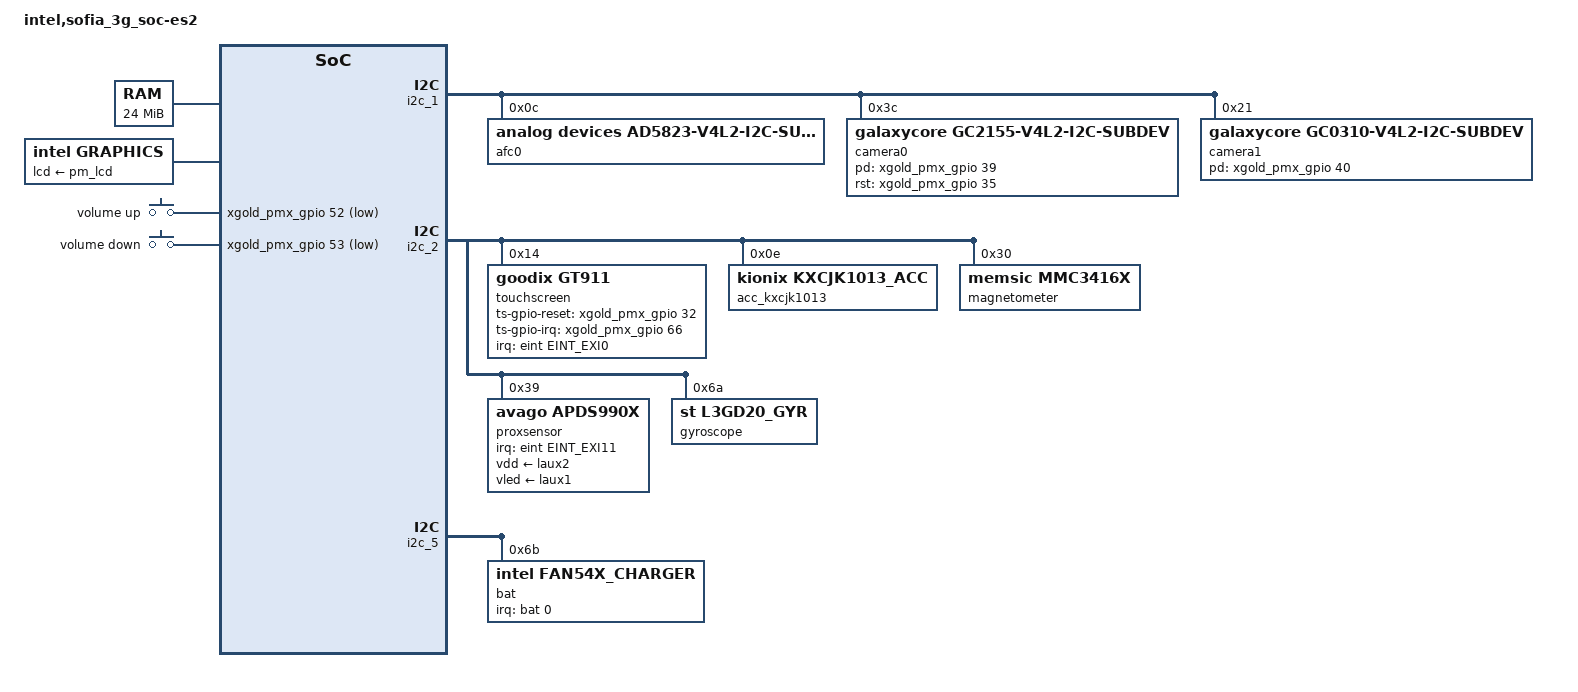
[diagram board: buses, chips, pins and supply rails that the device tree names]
/dts-v1/;
#define SOFIA3G_MRD7S
#include "xgold/sofia_3g_soc/irq.h"

/ {
	#address-cells = <1>;
	#size-cells = <1>;
	model = "intel,sofia_3g_soc-es2";
	compatible = "intel,sofia_3g_soc-svb", "intel,xgold";

	#include "xgold/sofia_3g_soc/sofia_3g_soc.dtsi"
	#include "xgold/sofia_3g_soc/irq.dtsi"
	#include "xgold/mobilevisor/mobilevisor.dtsi"
	#include "xgold/sofia_3g_soc/clock-es2.dtsi"
	#include "xgold/sofia_3g_soc/regulator.dtsi"
	#include "xgold/sofia_3g_soc/device-pm-reg.dtsi"
	#include "xgold/sofia_3g_soc/cpufreq.dtsi"

	chosen {
	};

	aliases {
	};

	memory {
		device_type = "memory";
		reg = <0x800000 0x1800000>;
	};

	reserved-memory {
		#address-cells = <1>;
		#size-cells = <1>;
		ranges;

		/* global autoconfigured region for contiguous allocations */
		cma_default_region: region@0 {
			size = <0x09000000>;
			limit = <0x00000000>;
			linux,cma-default;
		};
		/* special region for secured processing devices */
		secured_region: region@8000000 {
			reg = <0x08000000 0x08000000>;
			no-map;
			linux,cma;
		};
	};

	vmodem {
		compatible = "intel,vmodem";
		reg = < 0x1D000000 0x02C00000 >;
	};

	ion {
		compatible = "intel,ion";
#ifndef RECOVERY_KERNEL
		secvm-handler;
#endif
		cma-heap {
			memory-region = <&cma_default_region>;
		};
		secured-heap {
			memory-region = <&secured_region>;
		};
	};

	backlight:agold620-backlight {
		compatible = "intel,agold620-led";
		reg = <0xE6501800 0x154>;
		reg-names = "pmu-bl";
		intel,flags-use-safe-ctrl;
		intel,vmm-secured-access;
		pm,class-name = "bl_class";
		pm,user-name = "bl";
		pm,state-D0 = "enable";
		pm,state-D3 = "disable";
		intel,led-k2 = <0x143>;
		intel,led-k1max = <0x120>;
		intel,led-k2max = <0xFFFF>;
		intel,led-up = <0x10104>;
		intel,led-down = <0x200>;
		intel,led-safe = <0x12>;
	};

	graphics {
		compatible = "intel,graphics";
		intel,gpu-shared-mem = <0x20000000>;
		intel,dcc-fbpixelformat= "RGB888";
		intel,dcc-debug-level = <1>;
		intel,fb-api = <1>;
#ifdef RECOVERY_KERNEL
		intel,dcc-mem = < 0x00800000 >;
#else
		intel,dcc-use-fences = <1>;
		intel,dcc-mem = < 0x00400000 >;
		intel,prot-mem = < 0x08000000 0x08000000>;
#endif
		intel,display-fps = <60>;
		intel,display-ramless = <1>;
		intel,display-preinit = <0>;
		intel,display-if = <&mipi_dsi>;
		lcd-supply = <&pm_lcd>;
#ifdef SOFIA3G_MRD7S
		intel,display-if-rate = <260000000>;
		/include/ "xgold/display/HX8279.dtsi"
#else
		intel,display-if-rate = <390000000>;
		/include/ "xgold/display/OTM1283.dtsi"
#endif
		mipi_dsi:mipi-dsi {
				intel,display-if-min = <104000000>;
				intel,display-if-max = <550000000>;
				intel,display-if-nblanes = <4>;
				intel,display-if-phy-pwup = <6>;
				intel,display-if-phy-calib = <3>;
				intel,display-if-phy-to_lp_hs_req = <24>;
				intel,display-if-phy-to_lp_hs_dis = <25>;
				intel,display-if-phy-to_lp_hs_eot = <60>;
				intel,display-if-phy-to_hs_zero = <8>;
				intel,display-if-phy-to_hs_flip = <24>;
				intel,display-if-phy-lp_clk_div = <31>;
				intel,display-if-phy-to_hs_clk_pre = <36>;
				intel,display-if-phy-to_hs_clk_post = <42>;
				intel,display-if-phy-data_delay = <7>;
				intel,display-if-phy-clock_delay = <7>;
				intel,display-if-phy-lp_tx_tfall = <2>;
				intel,display-if-phy-lp_tx_rise = <2>;
				intel,display-if-phy-lp_tx_vref = <31>;
		};
	};

#ifndef RECOVERY_KERNEL
	sound:sound {
		compatible = "intel,xgold-snd-asoc";
		intel,audio-codec = < &afe >;
		intel,pcm-audio = <&pcm_music>;
		intel,pcm-voice = <&pcm_voice>;
		intel,speech = <&speech_probe>;
		intel,jack = <&headset>;
	};
#endif
	gpio_keys:gpio_keys {
		compatible = "gpio-keys";
		#address-cells = < 0 >;
		interrupt-parent = <&gpio_keys>;
		interrupts = < 0 1 >;
		#interrupt-cells = < 1 >;
		interrupt-map = <
			0 &eint EINT_EXI14 XGOLD_IRQ_TYPE_EDGE_BOTH
			1 &eint EINT_EXI8 XGOLD_IRQ_TYPE_EDGE_BOTH
		>;
		autorepeat;
		button@1 {
			label = "volume up";
			linux,code = <115>;
			gpios = <&xgold_pmx_gpio 52 1>;
		};
		button@2 {
			label = "volume down";
			linux,code = <114>;
			gpios = <&xgold_pmx_gpio 53 1>;
		};
	};
};

&eint {
	/* intel,virq,x = <0>; means EINTx is owned & requested by IRQ framework */
	intel,virq,0 = <0>; /* EINT_EXI0: TOUCH */
	intel,virq,1 = <0>; /* EINT_EXI1: ??? */
	intel,virq,2 = <0>; /* EINT_EXI2: ??? */
	intel,virq,3 = <1>; /* EINT_EXI3 */
	intel,virq,4 = <1>; /* EINT_EXI4 */
	intel,virq,5 = <1>; /* EINT_EXI5 */
	intel,virq,6 = <1>; /* EINT_EXI6 */
	intel,virq,7 = <1>; /* EINT_EXI7 */
	intel,virq,8 = <0>; /* EINT_EXI8: SD-DET+KEYBOARD? */
	intel,virq,9 = <1>; /* EINT_EXI9 */
	intel,virq,10 = <1>; /* EINT_EXI10 */
	intel,virq,11 = <0>; /* EINT_EXI11: PROX */
	intel,virq,12 = <0>; /* EINT_EXI12: ??? */
	intel,virq,13 = <1>; /* EINT_EXI13 */
	intel,virq,14 = <0>; /* EINT_EXI14: KEYBOARD */
	intel,virq,15 = <1>; /* EINT_EXI15 */
	intel,virq,16 = <0>; /* EINT_USB_HS_RESUME */
	intel,virq,17 = <0>; /* EINT_SDMMC_DETECT */
	intel,virq,18 = <1>; /* EINT_SDIO_DAT3 */
	intel,virq,19 = <1>; /* EINT_SDIO_DAT1 */
	intel,virq,20 = <0>; /* EINT_USIF1_WK */
	intel,virq,21 = <1>; /* EINT_USIF2_WK */
	intel,virq,22 = <1>; /* EINT_WUP_DBB */
	intel,virq,23 = <1>; /* EINT_U2H */
	intel,virq,24 = <1>; /* EINT_G3FP */
	intel,virq,25 = <1>; /* EINT_DTXS */
	intel,virq,26 = <1>; /* EINT_DRXS */
	intel,virq,27 = <1>; /* EINT_WDT0 */
	intel,virq,28 = <1>; /* EINT_WDT1 */
	intel,virq,29 = <0>; /* EINT_USB_ID */

	intel,preack,8 = <1>; /* EINT_EXI8 */
	intel,preack,20 = <1>; /* EINT_USIF1_WK */
};

&idi_per {
	#include "xgold/agold620/agold620.dtsi"
};

&bat_hal {
	#define BAT_TYPE_LC 0
	#define POWER_SUPPLY_TECHNOLOGY_LION 2

	supp_batids =  < 0 BAT_TYPE_LC >;

	supp_batids-map = "standrd";

	prof-standrd = < POWER_SUPPLY_TECHNOLOGY_LION /*battery_type*/
				  3000 /*capacity*/
				  4350 /*voltage_max*/
				  82 /*chrg_term_ma*/
				  2900 /*low_batt_mv*/
				  60 /*disch_tmp_ul*/
				  0xffffffec /*disch_tmp_ll (-20)*/
				  0 /*min_temp*/
				  3 /*min_temp_restart*/
				  42 /*max_temp_restart*/ >;

	prof-standrd-cap_to_vbat_ocv = <
		2912 3280 3438 3530 3595 3643 3672 3681 3685 3689
		3692 3695 3698 3702 3708 3716 3723 3731 3737 3743
		3749 3754 3760 3764 3767 3771 3773 3776 3778 3781
		3783 3785 3787 3790 3793 3795 3798 3801 3805 3808
		3811 3815 3819 3823 3827 3832 3836 3841 3846 3852
		3857 3863 3869 3876 3883 3891 3899 3908 3916 3924
		3933 3941 3949 3958 3967 3975 3983 3991 4000 4009
		4020 4030 4041 4052 4063 4072 4081 4091 4102 4112
		4123 4134 4145 4156 4167 4178 4189 4201 4212 4224
		4236 4247 4259 4271 4283 4295 4307 4317 4327 4337
		4345 >;

	prof-standrd-ntemp_ranges = <1>;

	prof-standrd-temp_range0 = < 45 /*max_temp*/
					     4160 /*full_chrg_vol*/
					     850 /*full_chrg_cur*/
					     98 /*charging_res_cap*/
					     4160 /*maint_chrg_vol_ul*/
					     850 /*maint_chrg_cur*/ >;

	nprofiles = <1>;
};

&fuel_gauge_hal {
	sense_resistor_mohm = <20>;
	gain_error_1_uc_per_mc = <30>;
	gain_error_2_uc_per_mc = <30>;
};

&dcc {
	pinctrl-names = "default", "sleep", "inactive";
	pinctrl-0 = <&dif_default_pins>;
	pinctrl-1 = <&dif_sleep_pins>;
	pinctrl-2 = <&dif_inactive_pins>;
};

&usif1 {
	pinctrl-names = "default", "sleep", "inactive";
	pinctrl-0 = <&usif1_default_pins>;
	pinctrl-1 = <&usif1_sleep_pins>;
	pinctrl-2 = <&usif1_inactive_pins>;
};

&usif2 {
	pinctrl-names = "default", "sleep", "inactive";
	pinctrl-0 = <&usif2_function_B_active_pins>;
	pinctrl-1 = <&usif2_function_B_sleep_pins>;
	pinctrl-2 = <&usif2_function_B_inactive_pins>;
};

&i2c_1 {
	pinctrl-names = "default", "sleep", "inactive";
	pinctrl-0 = <&i2c1_default_pins>;
	pinctrl-1 = <&i2c1_sleep_pins>;
	pinctrl-2 = <&i2c1_inactive_pins>;

#ifndef RECOVERY_KERNEL
	afc0: af-controller@0 {
		compatible = "analog devices,ad5823-v4l2-i2c-subdev";
		reg = < 0x0C >;
	};

	camera0: camera-module@0 {
		compatible = "galaxycore,gc2155-v4l2-i2c-subdev";
		reg = < 0x3c >;
		device_type = "v4l2-i2c-subdev";

		pinctrl-names = "default", "sleep", "inactive";
		pinctrl-0 = <&cam1_default_pins>;
		pinctrl-1 = <&cam1_sleep_pins>;
		pinctrl-2 = <&cam1_inactive_pins>;

		intel,pd-gpio = <&xgold_pmx_gpio 39 0>;
		intel,rst-gpio = <&xgold_pmx_gpio 35 0>;
		intel,rst-gpio-is_active_low;

		pm,class-name = "generic_class";
		pm,user-name = "primcam";
		pm,state-D0 = "enable";
		pm,state-D3 = "disable";

		/* ["front","back"] */
		intel,camera-module-facing = "back";
		/* ["landscape","landscape-flipped","portrait","portrait-flipped"] */
		intel,camera-module-mounting = "landscape";

		intel,camera-module-csi-config-0 {
			intel,csi-pixels-per-second = <0>;
			intel,csi-vc = <0>;
			intel,csi-lanes = <2>;
			intel,csi-dphy1 = <0x6092183>;
			intel,csi-dphy2 = <0x00>;
			intel,csi-ana-bandgap-bias = <3>;
		};
	};
#endif
#ifndef RECOVERY_KERNEL
	camera1: camera-module@1 {
		compatible = "galaxycore,gc0310-v4l2-i2c-subdev";
		reg = < 0x21 >;
		device_type = "v4l2-i2c-subdev";

		pinctrl-names = "default", "sleep", "inactive";
		pinctrl-0 = <&cam2_default_pins>;
		pinctrl-1 = <&cam2_sleep_pins>;
		pinctrl-2 = <&cam2_inactive_pins>;

		intel,pd-gpio = <&xgold_pmx_gpio 40 0>;

		pm,class-name = "generic_class";
		pm,user-name = "seccam";
		pm,state-D0 = "enable";
		pm,state-D3 = "disable";

		intel,camera-module-facing = "front";
		/* ["landscape","landscape-flipped","portrait","portrait-flipped"] */
		intel,camera-module-mounting = "landscape";

		intel,camera-module-csi-config-0 {
			intel,csi-pixels-per-second = <0>;
			intel,csi-vc = <0>;
			intel,csi-lanes = <1>;
			intel,csi-dphy1 = <0x608C1C1>;
			intel,csi-dphy2 = <0x00>;
			intel,csi-ana-bandgap-bias = <3>;
		};

	};
#endif
};

&i2c_2 {
	pinctrl-names = "default", "sleep", "inactive";
	pinctrl-0 = <&i2c2_default_pins>;
	pinctrl-1 = <&i2c2_sleep_pins>;
	pinctrl-2 = <&i2c2_inactive_pins>;

#ifndef RECOVERY_KERNEL
	touchscreen {
		compatible = "goodix,GT911";
		reg = < 0x14 >;
		interrupt-parent = <&eint>;
		interrupts = < EINT_EXI0 XGOLD_IRQ_TYPE_EDGE_FALLING >;
		pinctrl-names = "default", "sleep", "inactive", "gpio";
		pinctrl-0 = <&touch_default_pins>;
		pinctrl-1 = <&touch_sleep_pins>;
		pinctrl-2 = <&touch_inactive_pins>;
		pinctrl-3 = <&touch_gpio_pins>;
		intel,ts-gpio-reset = <&xgold_pmx_gpio 32 0>;
		intel,ts-gpio-irq = <&xgold_pmx_gpio 66 0>;
		pm,class-name = "gt9xx_class";
		pm,user-name = "tp";
		pm,state-D0 = "enable";
		pm,state-D3 = "disable";
	};
#endif

#ifndef RECOVERY_KERNEL
	acc_kxcjk1013 {
		compatible = "kionix,kxcjk1013_acc";
		reg = < 0xE >;
		intel,acc-direction = < 6 >;
		intel,poll-interval = < 100 >;
		pinctrl-names = "default", "sleep", "inactive";
		pinctrl-0 = <&accel_default_pins>;
		pinctrl-1 = <&accel_sleep_pins>;
		pinctrl-2 = <&accel_inactive_pins>;
		pm,class-name = "lsm303dlhc_acc_class";
		pm,user-name = "accelerometer";
		pm,state-D0 = "enable";
		pm,state-D3 = "disable";
	};
#endif
#ifndef RECOVERY_KERNEL
	magnetometer {
		compatible = "memsic,mmc3416x";
		reg = < 0x30 >;
		intel,axis-map = < 0 1 2 >;
		intel,negate = < 0 0 0 >;
		intel,offset = < 0 0 0 >;
		intel,poll-interval = < 100 >;
		pm,class-name = "mmc3416x_class";
		pm,user-name = "compass";
		pm,state-D0 = "enable";
		pm,state-D3 = "disable";
	};
#endif
#ifndef RECOVERY_KERNEL
	proxsensor {
		compatible = "avago,apds990x";
		reg = < 0x39 >;
		interrupt-parent = <&eint>;
		interrupts = < EINT_EXI11 XGOLD_IRQ_TYPE_EDGE_FALLING >;
		pinctrl-names = "default", "sleep", "inactive";
		pinctrl-0 = <&prox_default_pins>;
		pinctrl-1 = <&prox_sleep_pins>;
		pinctrl-2 = <&prox_inactive_pins>;
		intel,pdrive = /bits/ 8 < 64 >;
		intel,ppcount = /bits/ 8 < 64 >;
		intel,als-gain = < 713 >;
		intel,coeff-B = < 204 >;
		intel,coeff-C = < 98 >;
		intel,coeff-D = < 197 >;
		vdd-supply = <&laux2>;
		vled-supply = <&laux1>; /* VBAT in fact, but since VBAT is not controllable, and VAUX1 is required for INT pull up, assigned VAUX1 to VLED instead. */
		pm,class-name = "apds990x_class";
		pm,user-name = "proximity";
		pm,state-D0 = "enable";
		pm,state-D3 = "disable";
	};
#endif
#ifndef RECOVERY_KERNEL
	gyroscope {
		compatible = "st,l3gd20_gyr";
		reg = < 0x6a >;
		pinctrl-names = "default", "sleep", "inactive";
		pinctrl-0 = <&gyroscope_default_pins>;
		pinctrl-1 = <&gyroscope_sleep_pins>;
		pinctrl-2 = <&gyroscope_inactive_pins>;
		intel,axis-map = < 0 1 2 >;
		intel,negate = < 1 0 1 >;
		intel,poll-interval = < 100 >;
		intel,full-scale = < 2000 >;
		pm,class-name = "l3gd20_class";
		pm,user-name = "gyroscope";
		pm,state-D0 = "enable";
		pm,state-D3 = "disable";
	};
#endif
};

&i2c_5 {
	pinctrl-names = "default", "sleep", "inactive";
	pinctrl-0 = <&i2c5_agold_default_pins>;
	pinctrl-1 = <&i2c5_agold_sleep_pins>;
	pinctrl-2 = <&i2c5_agold_inactive_pins>;
	bat:battery {
		compatible = "intel,fan54x_charger";
		reg = < 0x6b >;
		interrupts = < 0 >;
		interrupt-parent = < &bat>;
		#interrupt-cells = < 1 >;
		interrupt-map = < 0 &ag620_pmu ABB_PMU_CI XGOLD_IRQ_TYPE_NONE >; /* CI */
		pinctrl-names = "default", "sleep", "inactive", "active";
		pinctrl-0 = < &chgreset_agold_default_pins >;
		pinctrl-1 = < &chgreset_agold_sleep_pins >;
		pinctrl-2 = < &chgreset_agold_inactive_pins >;
		pinctrl-3 = < &chgreset_agold_active_pins >;
	};
};

&gnss {
	pinctrl-names = "default", "sleep", "inactive";
	pinctrl-0 = <&tcxo_agold_default_pins>;
	pinctrl-1 = <&tcxo_agold_sleep_pins>;
	pinctrl-2 = <&tcxo_agold_inactive_pins>;
};

&backlight {
	pinctrl-names = "default", "sleep", "inactive";
	pinctrl-0 = <&cabc_agold_default_pins>;
	pinctrl-1 = <&cabc_agold_sleep_pins>;
	pinctrl-2 = <&cabc_agold_inactive_pins>;
};

#ifndef RECOVERY_KERNEL
&afe {
	pinctrl-names = "default", "sleep", "inactive";
	pinctrl-0 = <&dm_agold_default_pins>;
	pinctrl-1 = <&dm_agold_sleep_pins>;
	pinctrl-2 = <&dm_agold_inactive_pins>;
};
#endif

&sd {
	intel,tap_values = <0x080400F5 0x08040004 0x00040004 0x08040004 0x5CF501A5 0x00F500A5 0x00F500A5>;
	pinctrl-names = "default", "sleep", "inactive";
	pinctrl-0 = <&sdmmc_default_pins>;
	pinctrl-1 = <&sdmmc_sleep_pins>;
	pinctrl-2 = <&sdmmc_inactive_pins>;
};

&emmc {
	intel,tap_values = <0x080400F5 0x08040004 0x00040004 0x08040004 0x08040004 0x000400B5 0x000400B5>;
	pinctrl-names = "default", "sleep", "inactive";
	pinctrl-0 = <&emmc_default_pins>;
	pinctrl-1 = <&emmc_sleep_pins>;
	pinctrl-2 = <&emmc_inactive_pins>;

};

&keypad {
	pinctrl-names = "default", "sleep", "inactive";
	pinctrl-0 = <&kp_default_pins>;
	pinctrl-1 = <&kp_sleep_pins>;
	pinctrl-2 = <&kp_inactive_pins>;
	keypad,num-rows = <3>;
	keypad,num-columns = <8>;
	keypad,rows = <0 2>;
	keypad,columns = <0 1 2>;
	linux,keymap = <0x00000073	/* KEY_VOLUMEUP */
			0x00010066	/* KEY_HOME */
			0x00020000	/* KEY_RESERVED */
			0x00030000	/* KEY_RESERVED */
			0x00040000	/* KEY_RESERVED */
			0x00050000	/* KEY_RESERVED */
			0x00060000	/* KEY_RESERVED */
			0x00070000	/* KEY_RESERVED */
			0x01000000	/* KEY_RESERVED */
			0x01010000	/* KEY_RESERVED */
			0x01020000	/* KEY_RESERVED */
			0x01030000	/* KEY_RESERVED */
			0x01040000	/* KEY_RESERVED */
			0x01050000	/* KEY_RESERVED */
			0x01060000	/* KEY_RESERVED */
			0x01070000	/* KEY_RESERVED */
			0x02000072	/* KEY_VOLUMEDOWN */
			0x02010000	/* KEY_RESERVED */
			0x02020000>;	/* KEY_RESERVED */
};

#ifndef RECOVERY_KERNEL
&cif {
	intel,camera-modules-attached = <&camera0 &camera1>;
};
#endif

#include "xgold/agold620/pinctrl-sf_3g-es2-svb.dtsi"
#include "xgold/sofia_3g_soc/pinctrl-sf_3g-es2-svb.dtsi"
